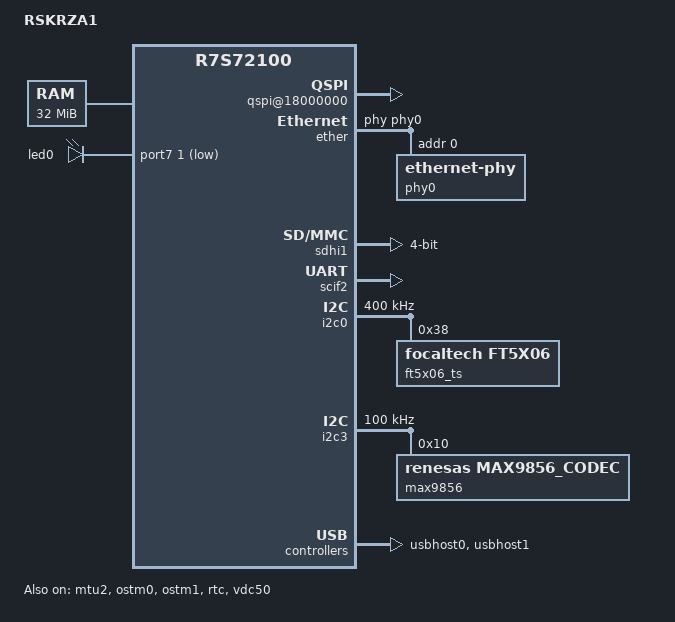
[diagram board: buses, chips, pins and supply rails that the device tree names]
// SPDX-License-Identifier: GPL-2.0
/*
 * Device Tree Source for the RZ/A1H RSK board
 *
 * Copyright (C) 2016 Renesas Electronics
 */

/dts-v1/;
#include "r7s72100.dtsi"
#include <dt-bindings/gpio/gpio.h>
#include <dt-bindings/pinctrl/r7s72100-pinctrl.h>

/ {
	model = "RSKRZA1";
	compatible = "renesas,rskrza1", "renesas,r7s72100";

	aliases {
		serial0 = &scif2;
	};

	chosen {
		bootargs = "ignore_loglevel earlyprintk earlycon root=/dev/mtdblock0                                              ";
		stdout-path = "serial0:115200n8";
	};

	memory@8000000 {
		device_type = "memory";
		reg = <0x08000000 0x02000000>;
	};

	lbsc {
		#address-cells = <1>;
		#size-cells = <1>;
	};

	leds {
		status = "okay";
		compatible = "gpio-leds";

		led0 {
			gpios = <&port7 1 GPIO_ACTIVE_LOW>;
		};
	};

	/* File System */
	/* Remember, we'll be in dual QSPI XIP mode at this point */
	/* Requires CONFIG_MTD_ROM=y */
	qspi@18000000 {
		compatible = "mtd-rom";
		probe-type = "map_rom";
		reg = <0x18000000 0x4000000>;	/* 64 MB*/
		bank-width = <4>;
		device-width = <1>;

		#address-cells = <1>;
		#size-cells = <1>;

		partition@800000 {
			label ="user";
			reg = <0x0800000 0x800000>; /* 8MB @ 0x18800000 */
			read-only;
		};
	};

};

&extal_clk {
	clock-frequency = <13330000>;
};

&usb_x1_clk {
	clock-frequency = <48000000>;
};

&rtc_x1_clk {
	clock-frequency = <32768>;
};

&pinctrl {

	/* Serial Console */
	scif2_pins: serial2 {
		pinmux = <RZA1_PINMUX(3, 0, 6)>,	/* TxD2 */
			 <RZA1_PINMUX(3, 2, 4)>;	/* RxD2 */
	};

	/* Ethernet */
	ether_pins: ether {
		/* Ethernet on Ports 1,2,3,5 */
		pinmux = <RZA1_PINMUX(1, 14, 4)>,	/* ET_COL   */
			 <RZA1_PINMUX(5, 9, 2)>,	/* ET_MDC   */
			 <RZA1_PINMUX(3, 3, 2)>,	/* ET_MDIO  */
			 <RZA1_PINMUX(3, 4, 2)>,	/* ET_RXCLK */
			 <RZA1_PINMUX(3, 5, 2)>,	/* ET_RXER  */
			 <RZA1_PINMUX(3, 6, 2)>,	/* ET_RXDV  */
			 <RZA1_PINMUX(2, 0, 2)>,	/* ET_TXCLK */
			 <RZA1_PINMUX(2, 1, 2)>,	/* ET_TXER  */
			 <RZA1_PINMUX(2, 2, 2)>,	/* ET_TXEN  */
			 <RZA1_PINMUX(2, 3, 2)>,	/* ET_CRS   */
			 <RZA1_PINMUX(2, 4, 2)>,	/* ET_TXD0  */
			 <RZA1_PINMUX(2, 5, 2)>,	/* ET_TXD1  */
			 <RZA1_PINMUX(2, 6, 2)>,	/* ET_TXD2  */
			 <RZA1_PINMUX(2, 7, 2)>,	/* ET_TXD3  */
			 <RZA1_PINMUX(2, 8, 2)>,	/* ET_RXD0  */
			 <RZA1_PINMUX(2, 9, 2)>,	/* ET_RXD1  */
			 <RZA1_PINMUX(2, 10, 2)>,	/* ET_RXD2  */
			 <RZA1_PINMUX(2, 11, 2)>;	/* ET_RXD3  */
	};

	/* SDHI ch1 on CN1 */
	sdhi1_pins: sdhi1 {
		pinmux = <RZA1_PINMUX(3, 8, 7)>,	/* SD_CD_1 */
			 <RZA1_PINMUX(3, 9, 7)>,	/* SD_WP_1 */
			 <RZA1_PINMUX(3, 10, 7)>,	/* SD_D1_1 */
			 <RZA1_PINMUX(3, 11, 7)>,	/* SD_D0_1 */
			 <RZA1_PINMUX(3, 12, 7)>,	/* SD_CLK_1 */
			 <RZA1_PINMUX(3, 13, 7)>,	/* SD_CMD_1 */
			 <RZA1_PINMUX(3, 14, 7)>,	/* SD_D3_1 */
			 <RZA1_PINMUX(3, 15, 7)>;	/* SD_D2_1 */
	};

	/* RIIC ch0 (Touchscreen) */
	i2c0_pins: i2c0 {
		pinmux = <RZA1_PINMUX(1, 0, 1)>,	/* RIIC0SCL */
			 <RZA1_PINMUX(1, 1, 1)>;	/* RIIC0SDA */
	};

	/* IRQ1 (Touchscreen) */
	irq1_pins: irq1 {
		pinmux = <RZA1_PINMUX(4, 9, 8)>;	/* IRQ1 */
	};

	/* RIIC ch3 (Port Expander, EEPROM (MAC Addr), Audio Codec) */
	i2c3_pins: i2c3 {
		pinmux = <RZA1_PINMUX(1, 6, 1)>,	/* RIIC3SCL */
			 <RZA1_PINMUX(1, 7, 1)>;	/* RIIC3SDA */
	};

	/* VDC5 LCD ch 0 */
	vdc50_pins: vdc50 {

		pinmux =
			/* LCD0_DATA0 to LCD0_DATA7 is P11_0 to P11_7 */
			<RZA1_PINMUX(11, 0,  5)>,	/* LCD0_DATA0 */
			<RZA1_PINMUX(11, 1,  5)>,	/* LCD0_DATA1 */
			<RZA1_PINMUX(11, 2,  5)>,	/* LCD0_DATA2 */
			<RZA1_PINMUX(11, 3,  5)>,	/* LCD0_DATA3 */
			<RZA1_PINMUX(11, 4,  5)>,	/* LCD0_DATA4 */
			<RZA1_PINMUX(11, 5,  5)>,	/* LCD0_DATA5 */
			<RZA1_PINMUX(11, 6,  5)>,	/* LCD0_DATA6 */
			<RZA1_PINMUX(11, 7,  5)>,	/* LCD0_DATA7 */

			/* LCD0_DATA8 to LCD0_DATA23 is all of P10_0 to P10_15 */
			<RZA1_PINMUX(10, 0,  5)>,	/* LCD0_DATA8 */
			<RZA1_PINMUX(10, 1,  5)>,	/* LCD0_DATA9 */
			<RZA1_PINMUX(10, 2,  5)>,	/* LCD0_DATA10 */
			<RZA1_PINMUX(10, 3,  5)>,	/* LCD0_DATA11 */
			<RZA1_PINMUX(10, 4,  5)>,	/* LCD0_DATA12 */
			<RZA1_PINMUX(10, 5,  5)>,	/* LCD0_DATA13 */
			<RZA1_PINMUX(10, 6,  5)>,	/* LCD0_DATA14 */
			<RZA1_PINMUX(10, 7,  5)>,	/* LCD0_DATA15 */
			<RZA1_PINMUX(10, 8,  5)>,	/* LCD0_DATA16 */
			<RZA1_PINMUX(10, 9,  5)>,	/* LCD0_DATA17 */
			<RZA1_PINMUX(10, 10, 5)>,	/* LCD0_DATA18 */
			<RZA1_PINMUX(10, 11, 5)>,	/* LCD0_DATA19 */
			<RZA1_PINMUX(10, 12, 5)>,	/* LCD0_DATA20 */
			<RZA1_PINMUX(10, 13, 5)>,	/* LCD0_DATA21 */
			<RZA1_PINMUX(10, 14, 5)>,	/* LCD0_DATA22 */
			<RZA1_PINMUX(10, 15, 5)>,	/* LCD0_DATA23 */


			/* TCON pins (some may not be used) */
			//<RZA1_PINMUX(11,14, 5)>,	/* LCD0_TCON0 */
			//<RZA1_PINMUX(11,13, 5)>,	/* LCD0_TCON1 */
			<RZA1_PINMUX(11,12, 5)>,	/* LCD0_TCON2 */
			<RZA1_PINMUX(11,11, 5)>,	/* LCD0_TCON3 */
			<RZA1_PINMUX(11,10, 5)>,	/* LCD0_TCON4 */
			//<RZA1_PINMUX(11,9,  5)>,	/* LCD0_TCON5 */
			//<RZA1_PINMUX(11,8,  5)>,	/* LCD0_TCON6 */

			<RZA1_PINMUX(11, 15, 5)>;	/* LCD0_CLK */
	};
};

&mtu2 {
	status = "okay";
};

&ether {
	pinctrl-names = "default";
	pinctrl-0 = <&ether_pins>;
	status = "okay";
	renesas,no-ether-link;
	phy-handle = <&phy0>;
	phy0: ethernet-phy@0 {
		reg = <0>;
	};
};
&dma0  {
			/*slave id for another device*/
	slave_id=<	RZA1DMA_SLAVE_SDHI0_TX
			RZA1DMA_SLAVE_SDHI0_RX
			RZA1DMA_SLAVE_SDHI1_TX
			RZA1DMA_SLAVE_SDHI1_RX
			RZA1DMA_SLAVE_MMCIF_TX
			RZA1DMA_SLAVE_MMCIF_RX
			RZA1DMA_SLAVE_PCM_MEM_SSI0
			RZA1DMA_SLAVE_PCM_MEM_SRC1
			RZA1DMA_SLAVE_PCM_SSI0_MEM
			RZA1DMA_SLAVE_PCM_SRC0_MEM>;
		/* address of slave device*/
	addr=<	0xe804e030 /*first for SDHI0_TX*/
		0xe804e030
		0xe804e830
		0xe804e830
		0xe804c834
		0xe804c834
		0xe820b018
		0xe820970c
		0xe820b01c
		0xe8209718>;
		/*channel config (chcfg) for slave device, first for SDHI0_TX*/
	chcfg=<	0x1 0x0 0x1 0x1 0x1 0x2 0x2 0x0 /*.reqd .loen .hien .lvl .am .sds .dds .tm*/
		0x0 0x0 0x1 0x1 0x1 0x2 0x2 0x0
		0x1 0x0 0x1 0x1 0x1 0x2 0x2 0x0
		0x0 0x0 0x1 0x1 0x1 0x2 0x2 0x0
		0x1 0x0 0x1 0x1 0x1 0x2 0x2 0x0
		0x0 0x0 0x1 0x1 0x1 0x2 0x2 0x0
		0x1 0x0 0x1 0x1 0x1 0x2 0x2 0x0
		0x1 0x0 0x1 0x1 0x1 0x1 0x1 0x0
		0x0 0x0 0x1 0x1 0x1 0x2 0x2 0x0
		0x0 0x0 0x1 0x1 0x1 0x1 0x1 0x0>;

		/*dmas for slave device, first for SDHI0_TX*/
	dmars=<	0x1 0x30	/*.rid .mid*/
		0x2 0x30
		0x1 0x31
		0x2 0x31
		0x1 0x32
		0x2 0x32
		0x1 0x38
		0x1 0x41
		0x2 0x38
		0x2 0x40>;
};

&sdhi1 {
	pinctrl-names = "default";
	pinctrl-0 = <&sdhi1_pins>;
	bus-width = <4>;
	status = "okay";

	dmas = <&dma0 RZA1DMA_SLAVE_SDHI1_TX>, <&dma0 RZA1DMA_SLAVE_SDHI1_RX>;
	dma-names = "tx", "rx";
};

&ostm0 {
	status = "okay";
};

&ostm1 {
	status = "okay";
};

&rtc {
	status = "okay";
};

&scif2 {
	pinctrl-names = "default";
	pinctrl-0 = <&scif2_pins>;
	status = "okay";
};

/* RIIC0 (Touchscreen) */
&i2c0 {
	pinctrl-names = "default";
	pinctrl-0 = <&i2c0_pins>;
	status = "okay";
	clock-frequency = <400000>;

	ft5x06_ts@38 {
		compatible = "focaltech,ft5x06";
		reg = <0x38>;

		pinctrl-names = "default";
		pinctrl-0 = <&irq1_pins>;
		interrupts = <GIC_SPI (33-32) IRQ_TYPE_LEVEL_LOW>; /* IRQ1 */

		touchscreen-size-x = <800>;
		touchscreen-size-y = <480>;

		/* The touchscreen on the RSK LCD is backwards for some reason */
		touchscreen-inverted-x;
		touchscreen-inverted-y;
	};
};

/* RIIC3: Port Expander, EEPROM (MAC Addr), Audio Codec */
&i2c3 {
	pinctrl-names = "default";
	pinctrl-0 = <&i2c3_pins>;
	status = "okay";
	clock-frequency = <100000>;

	max9856: codec@10 {
		compatible = "renesas,max9856_codec";
		#sound-dai-cells = <0>;
		reg = <0x10>;
	};
};

&usbhost0 {
	status = "okay";
	xtal-48mhz;
};

&usbhost1 {
	/* NOTE: You MUST enable USB ch0 (host or device) first because
	   there are some shared registers bits in USB0 that USB1 needs. */
	status = "okay";
	xtal-48mhz;
};

/* RSK LCD: 800x600 LCD */
/* Pacer TFT LCD Panel, Model gwp0700cnwv04 */
#if XIP_KERNEL_WITHOUT_EXTERNAL_RAM
  #define VDC5_0_BPP 16 /* 16bpp or 32bpp */
  #define VDC5_0_FBSIZE (800*480*VDC5_0_BPP/8)
  #define VDC5_0_FB_ADDR 0	/* allocate memory at probe */
#else
  #define VDC5_0_BPP 32 /* 16bpp or 32bpp */
  #define VDC5_0_FBSIZE (800*480*VDC5_0_BPP/8)
  #define VDC5_0_FB_ADDR (0x60000000) /* fixed address in PAGE 0 */
#endif

&vdc50 {
	pinctrl-names = "default";
	pinctrl-0 = <&vdc50_pins>;

	display = <&display0>;
	status = "okay";

	/* Set the physical frame buffer address for internal RAM. */
	fb_phys_addr = <VDC5_0_FB_ADDR>;
	fb_phys_size = <VDC5_0_FBSIZE>;

	panel_name = "gwp0700cnwv04";
	panel_pixel_xres = <800>;	/* panel native resolution */
	panel_pixel_yres = <480>;	/* panel native resolution */

	/* Double Buffering. Reserves 2x memory space as frame buffer */
	/* Use "ioctl(fb0_fd, FBIOPAN_DISPLAY, &var)" from application
	 * space to change "var.yoffset=Y" where 'Y' is from 0 to var.yres
	 */
	//double_buffer;	/* Uncomment for double buffering */

	/* See 'drivers/video/fbdev/renesas/vdc5fb.h' for valid choices
	* for panel_icksel, panel_ocksel, and out_format */
	panel_icksel = <3>;	/* 3=ICKSEL_P1CLK (Peripheral clock 1) */
	panel_ocksel = <0>;	/* (don't care when lvds=0 ) */
	out_format = <0>;	/* 0=OUT_FORMAT_RGB888 */
	use_lvds = <0>;		/* Set to 0 or 1 */

	/* How are the TCON pins going to be used */
	tcon_sel = <
		0xff	/* TCON0: 0xff=TCON_SEL_UNUSED */
		0xff	/* TCON1: 0xff=TCON_SEL_UNUSED */
		7	/* TCON2:    7=TCON_SEL_DE (DATA ENABLE) */
		2	/* TCON3:    2=TCON_SEL_STH (HSYNC) */
		0	/* TCON4:    0=TCON_SEL_STVA (VSYNC) */
		0xff	/* TCON5: 0xff=TCON_SEL_UNUSED */
		0xff	/* TCON6: 0xff=TCON_SEL_UNUSED */
		>;

	display0: display0 {
		bits-per-pixel = <VDC5_0_BPP>;
		bus-width = <24>;

		display-timings {
			native-mode = <&timing0>;
			timing0: timing0 {
				clock-frequency = <33325000>; /* P1 clk / 2 */
				hactive = <800>;
				vactive = <480>;
				hback-porch = <26>;		/* back porch = 'HS Blanking'(46) - hsync-len(20) */
				hfront-porch = <210>;		/* 'HS Front Porch (210)' */
				vback-porch = <13>;		/* back porch = 'VS Blanking'(23) - vsync-len(10) */
				vfront-porch = <22>;		/* 'VS Front Porch(22)' */
				hsync-len = <20>;		/* pulse width of HSYNC (min=1, max=40) */
				vsync-len = <10>;		/* pulse width of VSYNC (min=1, max=20) */
				hsync-active = <1>; 		/* HSYNC pulse is: 0=Active LOW, 1=Active HIGH */
				vsync-active = <1>; 		/* VSYNC pulse is: 0=Active LOW, 1=Active HIGH */
				de-active = <0>; 		/* Data Enable signal is: 0=Active LOW , 1= Active HIGH */
				pixelclk-active = <0>; 		/* Pixel Data clock polarity: 0=drive pixel data on falling edge and sample data on rising edge */
			};
		};
	};
};

/* Audio in/out */
/* requires
 * CONFIG_SOUND=y
 * CONFIG_SND=y
 * CONFIG_SND_SOC=y
 * CONFIG_SND_SCUX_RSKRZA1=y
 * CONFIG_RZA_DMA=y
 */
/ {
	sound_machine: sound@0 {
		compatible = "renesas,rskrza1_sound_alsa";
	};

	sound: scux-pcm-audio@e8208000 {
		compatible = "renesas,rskrza1_scux";
		reg = <0xe8208000 0x00001778>,
		      <0xe820b000 0x00002830>;
		channel = <0>;
	};
};


/* ========== Disable LED Heartbeat ========== */
#if 0
/* The LEDs are controlled using I2C inside a kernel thread that is
 * started in the board-rskrza1.c file. */
/ {
	no-heartbeat;
};
#endif

/* ========== LED GPIO Example ========== */
/* To control LED0 on the RSK board.
 *
 * Requires:
 *   CONFIG_NEW_LEDS=y
 *   CONFIG_LEDS_CLASS=y
 *   CONFIG_LEDS_GPIO=y
 *
 * LED ON:  echo 255 > /sys/class/leds/led0/brightness
 * LED OFF: echo 0   > /sys/class/leds/led0/brightness
*/

/* ========== RSPI Example ========== */
#if 0
/* RSPI4 was tested by hooking up a SPI flash to CN15.
 * Requires:
 *   CONFIG_MTD=y
 *   CONFIG_MTD_OF_PARTS=y
 *   CONFIG_MTD_M25P80=y
 *
 * Note that you must change the IO MUX (IC29) on the RSK board
 * to enable the CN15 connector (which disconnects Ethernet).
 * Please enter this command in u-boot on the RSK board before booting
 *   => io_mux c
 *
 * After boot:
 * $ cat /proc/mtd
 * dev:    size   erasesize  name
 * mtd0: 00800000 04000000 "user"
 * mtd1: 00400000 00010000 "spi-data1"
 * mtd2: 00400000 00010000 "spi-data2"
 *
 * After that you should see some messages saying that your SPI flash has been
 * detected.
 * Then you can do things like erase and mount a JFFS2 file system:
 * $ flash_eraseall -j /dev/mtd1
 * $ mount -t jffs2 /dev/mtdblock1 /mnt
 */

/ {
	rspi-testing;
};
&ether {
	/* RSKRZA1 Board SPI4 is on CN15 (that means you can't use Ethernet) */
	status = "disabled";
};

/* Pin setup for RSPI4 */
&pinctrl {

	/* RSPI4 on CN15 */
	rspi4_pins: rspi4 {
		pinmux = <RZA1_PINMUX(2, 8,  8)>,	/* RSPCK4 */
			 <RZA1_PINMUX(2, 9,  8)>,	/* SSL40 */
			 <RZA1_PINMUX(2, 10, 8)>,	/* MOSI4 */
			 <RZA1_PINMUX(2, 11, 8)>;	/* MISO4 */
	};
};

&spi4 {
	pinctrl-names = "default";
	pinctrl-0 = <&rspi4_pins>;
	status = "okay";

	flash@0 {
	/* 	compatible = "spansion,s25fl512s", "jedec,spi-nor"; */
		compatible = "jedec,spi-nor";	/* let it auto-detect the flash */
		reg = <0>;
		spi-max-frequency = <30000000>;

		/* SPI Mode 3 */
		spi-cpol;
		spi-cpha;

		m25p,fast-read;

		partitions {
			compatible = "fixed-partitions";
			#address-cells = <1>;
			#size-cells = <1>;

			partition@0 {
				label = "spi-data1";
				reg = <0x00000000 0x00400000>;
				/* read-only; */
			};
			partition@40000 {
				label = "spi-data2";
				reg = <0x00400000 0x00400000>;
			};
		};
	};

};

#endif /* RSPI Testing */


/* ========== eMMC Example ========== */
#if 0
/*
 * MMC devices requires a 3.3 volt regulator node.
 * Add a 3.3v "regulator-fixed" node at the root
 */
/ {
	d3_3v: regulator-d3-3v {
		compatible = "regulator-fixed";
		regulator-name = "D3.3V";
		regulator-min-microvolt = <3300000>;
		regulator-max-microvolt = <3300000>;
		regulator-boot-on;
		regulator-always-on;
	};
};

/* Disable SDHI ch1 (since SDHI-1 and MMC both share CN1) */
&sdhi1 {
	status = "disabled";
};

/* Pin setup for MMC */
&pinctrl {

	/* MMC on CN1 */
	mmc_pins: mmc {
		pinmux = <RZA1_PINMUX(3, 8,  8)>,	/* MMC_CD */
			 <RZA1_PINMUX(3, 10, 8)>,	/* MMC_D1 */
			 <RZA1_PINMUX(3, 11, 8)>,	/* MMC_D0 */
			 <RZA1_PINMUX(3, 12, 8)>,	/* MMC_CLK */
			 <RZA1_PINMUX(3, 13, 8)>,	/* MMC_CMD */
			 <RZA1_PINMUX(3, 14, 8)>,	/* MMC_D3 */
			 <RZA1_PINMUX(3, 15, 8)>,	/* MMC_D2 */
			 <RZA1_PINMUX(4, 0,  8)>,	/* MMC_D4 */
			 <RZA1_PINMUX(4, 1,  8)>,	/* MMC_D5 */
			 <RZA1_PINMUX(4, 2,  8)>,	/* MMC_D6 */
			 <RZA1_PINMUX(4, 3,  8)>;	/* MMC_D7 */
	};
};

/* Add the MMC device node */
&mmcif {
	pinctrl-names = "default";
	pinctrl-0 = <&mmc_pins>;
	vmmc-supply = <&d3_3v>;
	vqmmc-supply = <&d3_3v>;
	bus-width = <8>;
	non-removable;
	status = "okay";
};
#endif /* MMC Testing */


/* ========== Parallel NOR Flash Example ========== */
#if 0
/* 256 MiB NOR Flash
 *
 * Requires:
 *   CONFIG_MTD=y
 *   CONFIG_MTD_OF_PARTS=y
 *   CONFIG_MTD_PHYSMAP=y
 *   CONFIG_MTD_OF_PARTS=y
 *   CONFIG_MTD_PHYSMAP_OF=y
 *   CONFIG_MTD_CFI=y
 *   CONFIG_MTD_CFI_AMDSTD=y
 *   CONFIG_JFFS2 = y
 *
 * Testing:
 * $ cat /proc/mtd
 * dev:    size   erasesize  name
 * mtd0: 00800000 04000000 "user"
 * mtd1: 01000000 00020000 "nor_apps"
 * mtd2: 01000000 00020000 "nor_data"
 *
 * $ flash_eraseall -j /dev/mtd1
 * $ mkdir /tmp/flash
 * $ mount -t jffs2 /dev/mtdblock1 /tmp/flash
 * $ ls
 *
 * # Program a rootfs.jffs2 from Buildroot to the NOR Flash (maybe form a USB drive)
 * $ flashcp <image dir>/rootfs.jffs2 /dev/mtd1
 *     or
 * $ cat /mnt/usb/rootfs.jffs2 > /dev/mtd1
 *
*/

/ {
	nor: flash@0 {
		compatible = "cfi-flash";
		reg = <0x00000000 0x2000000>;	/* 32 MB*/
		bank-width = <2>;
		device-width = <2>;

		#address-cells = <1>;
		#size-cells = <1>;

		partition@0 {
			label ="nor_apps";
			reg = <0x00000000 0x01000000>; /* 16MB */
		};

		partition@01000000 {
			label ="nor_data";
			reg = <0x01000000 0x01000000>; /* 16MB */
		};
	};
};
#endif /* Parallel NOR Flash Testing */


/* ========== 1280x800 LVDS LCD Example ========== */
#if 0
/* LVDS Panel: HSD070PWW1 -B01 | 1280x800 (WXVGA), 7", LVDS, 16bpp */
#define VDC5_1_BPP 16
#define VDC5_1_FBSIZE (1280*800*VDC5_1_BPP/8)
#define VDC5_1_FB_ADDR (0x60200000) /* fixed address in PAGE 2 */

&vdc50 {
	/* Disable the RSK LCD (although, we really done need to because
	 * we can drive 2 different displays at the same time */
	status = "disabled";
};

/* Pin setup for LVDS */
&pinctrl {
	/* VDC5 LCD ch 1 */
	vdc51_pins: vdc51 {
		pinmux = <RZA1_PINMUX(5, 0, 1)>,	/* TXCLKOUTP */
			 <RZA1_PINMUX(5, 1, 1)>,	/* TXCLKOUTM */
			 <RZA1_PINMUX(5, 2, 1)>,	/* TXOUT2P */
			 <RZA1_PINMUX(5, 3, 1)>,	/* TXOUT2M */
			 <RZA1_PINMUX(5, 4, 1)>,	/* TXOUT1P */
			 <RZA1_PINMUX(5, 5, 1)>,	/* TXOUT1M */
			 <RZA1_PINMUX(5, 6, 1)>,	/* TXOUT0P */
			 <RZA1_PINMUX(5, 7, 1)>;	/* TXOUT0M */
	};
};

&vdc51 {
	pinctrl-names = "default";
	pinctrl-0 = <&vdc51_pins>;

	display = <&display1>;
	status = "okay";

	/* Set the physical frame buffer address for internal RAM. */
	fb_phys_addr = <VDC5_1_FB_ADDR>;
	fb_phys_size = <VDC5_1_FBSIZE>;

	panel_name = "HSD070PWW1";
	panel_pixel_xres = <1280>;	/* panel native resolution */
	panel_pixel_yres = <800>;	/* panel native resolution */

	/* See 'drivers/video/fbdev/renesas/vdc5fb.h' for valid choices
	* for panel_icksel, panel_ocksel, and out_format */
	panel_icksel = <0>;	/* (don't care when lvds=1) */
	panel_ocksel = <2>;	/* 2=OCKSEL_PLL_DIV7 (LVDS PLL clock divided by 7) */
	out_format = <0>;	/* 0=OUT_FORMAT_RGB888 */
	use_lvds = <1>;		/* Set to 0 or 1 */

	/* How are the TCON pins going to be used */
	tcon_sel = <
		0xff	/* TCON0: 0xff=TCON_SEL_UNUSED */
		0xff	/* TCON1: 0xff=TCON_SEL_UNUSED */
		0xff	/* TCON2: 0xff=TCON_SEL_UNUSED */
		7	/* TCON3:    7=TCON_SEL_DE (DATA ENABLE) */
		0xff	/* TCON4: 0xff=TCON_SEL_UNUSED */
		0xff	/* TCON5: 0xff=TCON_SEL_UNUSED */
		0xff	/* TCON6: 0xff=TCON_SEL_UNUSED */
		>;

	display1: display1 {
		bits-per-pixel = <VDC5_1_BPP>;		/* Set to 16 or 32 */
		bus-width = <16>;

		display-timings {
			native-mode = <&timing1>;
			timing1: timing1 {
				clock-frequency = <71100000>; /* min:64.3MHz, typ:71.1MHz, max:82MHz */
				hactive = <1280>;
				vactive = <800>;
				hback-porch = <16>;
				hfront-porch = <16>;
				vback-porch = <24>;
				vfront-porch = <1>;
				hsync-len = <136>; /* max */
				vsync-len = <3>; /* max */
				hsync-active = <1>; /* HIGH */
				vsync-active = <1>; /* HIGH */
				de-active = <0>; /* LOW */
				pixelclk-active = <0>; /* ??? */
			};
		};
	};
};
#endif /* LVDS Testing */

/* ========== SPIBSC (QSPI) Example ========== */
#if 0
/* Booted as uImage with a initramfs. (or with a USB Flash drive)
 *
 * * Requires:
 *   CONFIG_MTD=y
 *   CONFIG_MTD_OF_PARTS=y
 *   CONFIG_MTD_M25P80=y
 *
 * NOTE: When booting, do NOT leave the QSPI in XIP mode (ie, the 'qspi single' command
 *
 * When booting, you should see:
 *   spibsc 3fefa000.spi: JEDEC ID = 010220
 *   spibsc 3fefa000.spi: Quad Read enabled for Spansion
 *   m25p80 spi5.0: s25fl512s (65536 Kbytes)
 *   4 ofpart partitions found on MTD device spi5.0
 *   Creating 4 MTD partitions on "spi5.0":
 *   0x000000000000-0x000000080000 : "u-boot"
 *   0x000000080000-0x0000000c0000 : "env"
 *   0x0000000c0000-0x000000100000 : "dtb"
 *   0x000002000000-0x000002100000 : "spibsc-rootfs"
 *
 * After boot:
 * $ cat /proc/mtd
 * dev:    size   erasesize  name
 * mtd0: 00800000 04000000 "user"
 * mtd1: 00080000 00040000 "u-boot"
 * mtd2: 00040000 00040000 "env"
 * mtd3: 00040000 00040000 "dtb"
 * mtd4: 00100000 00040000 "spibsc-rootfs"
 *
 * You can do things like erase and mount a JFFS2 file system:
 * $ flash_eraseall -j /dev/mtd4
 * $ mount -t jffs2 /dev/mtdblock4 /mnt
 * $ echo "hello" > /mnt/hello.txt
 * $ sync
 */
/ {
	chosen {
#if 0
		bootargs = "ignore_loglevel earlyprintk earlycon=scif,0xE8008000              ";
#else
		bootargs = "ignore_loglevel earlyprintk earlycon=scif,0xE8008000 rootwait root=/dev/mmcblk0p1   ";
#endif
		stdout-path = "serial0:115200n8";
	};
};

&spibsc0 {
	status = "okay";

	flash@0 {
	/*	compatible = "spansion,s25fl512s", "jedec,spi-nor"; */
		compatible = "jedec,spi-nor";	/* let it auto-detect the flash */
		reg = <0>;

		spi-max-frequency = <66000000>;

		/* SPI Mode 3 */
		spi-cpol;
		spi-cpha;
		m25p,fast-read;

		partitions {
			compatible = "fixed-partitions";
			#address-cells = <1>;
			#size-cells = <1>;

			partition@0000000 {
				label = "u-boot";
				reg = <0x00000000 0x80000>;
				read-only;
			};
			partition@80000 {
				label = "env";
				reg = <0x00080000 0x40000>;
				read-only;
			};
			partition@C0000 {
				label = "dtb";
				reg = <0x000C0000 0x40000>;
				read-only;
			};
			partition@2000000 {
				label = "spibsc-rootfs";
				reg = <0x02000000 0x01000000>;	/* 16MB @ 32MB offset in SPI Flash */
			};
		};
	};
};
#endif

/* ========== USB Function Example ========== */
/* This uses the USB Ethernet gadget for testing.
 * Therefore, make sure to set
 *	CONFIG_USB_GADGET=y
 *	CONFIG_USB_RENESAS_USBHS=y
 *	CONFIG_USB_RENESAS_USBHS_UDC=y
 * 	CONFIG_USB_ETH=y
 * 	CONFIG_USB_ETH_RNDIS=y
 * in your kernel config.
 *
 * On the RSK board make sure you set : JP11 = Open
 */
#if 0
&usbhost0 {
	status = "disabled";
};

&usbhost1 {
	status = "disabled";
};

&usbhs0 {
	status = "okay";
};
#endif
